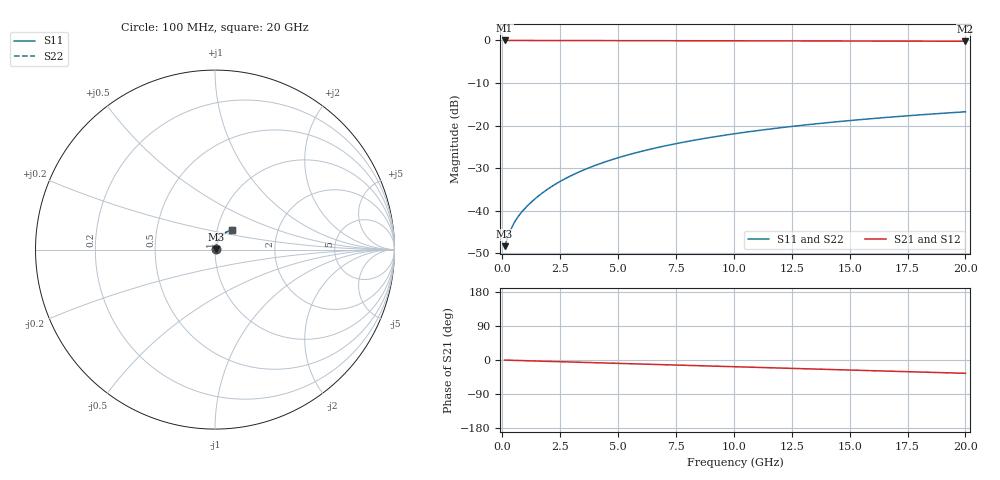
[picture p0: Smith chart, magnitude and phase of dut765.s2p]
! Touchstone file exported from HFSS 2026.1.0
!  File:  C:/ffzhzh/LocalFiles/Ansys_Project_Files/temp_train_TMRDL_765_1783155510_22436.aedt
!  Generated:  04:59:37 PM Jul  4, 2026
!  Design:  TMRDL
!  Project:  temp_train_TMRDL_765_1783155510_22436
! Variables:
!  h_bsmrdl = 2um
!  h_ox = 20um
!  h_rdl = 5um
!  h_sub = 80um
!  h_tmrdl = 2.54um
!  h_tsv = 80um
!  h_via = 3um
!  l_bsmrdl = 300um
!  l_sub = 992.85um
!  l_tmrdl = 592.85um
!  m_sub = 200um
!  pitch = 32.76um
!  r_tsv = 6um
!  s_tmrdl = 10um
!  w_bsmrdl = 18um
!  w_sub = 500um
!  w_tmrdl = 24.89um
!  x_tsv_center1 = 605.295um
!  x_tsv_center2 = 923.295um
!  x_tsv_center3 = 1541.035um
!  x_tsv_center4 = 1859.035um
!  x_tsv_center5 = 2476.775um
!  x_tsv_center6 = 2794.775um
# GHz S MA R 50.000000
! Terminal data exported
! Port[1] = TM_RDL1_1_T1
! Port[2] = TM_RDL1_1_T2
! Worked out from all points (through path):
!   200 points, 100 MHz to 20 GHz, reference 50 ohm
!   highest |S21| = -0.03 dB at 100 MHz (marker M1); lowest = -0.2 dB at 20 GHz (marker M2)
!   group delay of S21, straight-line fit = 4.87 ps
!   lowest |S11| = -48.3 dB at 100 MHz (marker M3), VSWR 1.01, Z = 50.4 + j0.127 ohm
!   |S11| at or under -10 dB: start of sweep to end of sweep
!   |S22| runs from -48.3 to -16.8 dB; largest |S21 - S12| = 3.1e-15
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0.1  0.003852 19.1  0.9964 -0.2  0.9964 -0.2  0.003852 19.1
! Gamma 0 0 0 0
! Port Impedance 50 0 50 0
0.3  0.005438 40.0  0.9959 -0.6  0.9959 -0.6  0.005438 40.0
0.4  0.006309 44.7  0.9956 -0.8  0.9956 -0.8  0.006309 44.7
0.5  0.007137 48.0  0.9953 -1.0  0.9953 -1.0  0.007136 48.0
0.6  0.007919 50.5  0.9951 -1.1  0.9951 -1.1  0.007918 50.5
0.8  0.009399 54.5  0.9947 -1.5  0.9947 -1.5  0.009397 54.6
1  0.01084 57.8  0.9945 -1.9  0.9945 -1.9  0.01084 57.8
1.2  0.01228 60.5  0.9943 -2.2  0.9943 -2.2  0.01228 60.5
1.7  0.01598 65.3  0.994 -3.1  0.994 -3.1  0.01598 65.3
2.2  0.01981 68.1  0.9938 -4.0  0.9938 -4.0  0.01981 68.2
2.8  0.02451 70.1  0.9935 -5.1  0.9935 -5.1  0.0245 70.1
3.5  0.03005 71.2  0.9931 -6.3  0.9931 -6.3  0.03005 71.2
4.2  0.03562 71.5  0.9926 -7.6  0.9926 -7.6  0.03561 71.5
5  0.04196 71.3  0.992 -9.0  0.992 -9.0  0.04195 71.3
5.9  0.04903 70.6  0.9913 -10.6  0.9913 -10.6  0.04903 70.7
6.8  0.05602 69.6  0.9905 -12.2  0.9905 -12.2  0.05602 69.7
8.3  0.06745 67.7  0.989 -14.8  0.989 -14.8  0.06745 67.8
10.1  0.08075 65.1  0.9871 -18.0  0.9871 -18.0  0.08075 65.2
11.7  0.09218 62.6  0.9852 -20.8  0.9852 -20.8  0.09218 62.7
13.4  0.1039 59.9  0.9832 -23.8  0.9832 -23.8  0.1039 60.1
16.7  0.1254 54.6  0.9791 -29.5  0.9791 -29.5  0.1254 54.8
20  0.1452 49.3  0.9751 -35.1  0.9751 -35.1  0.1452 49.5
